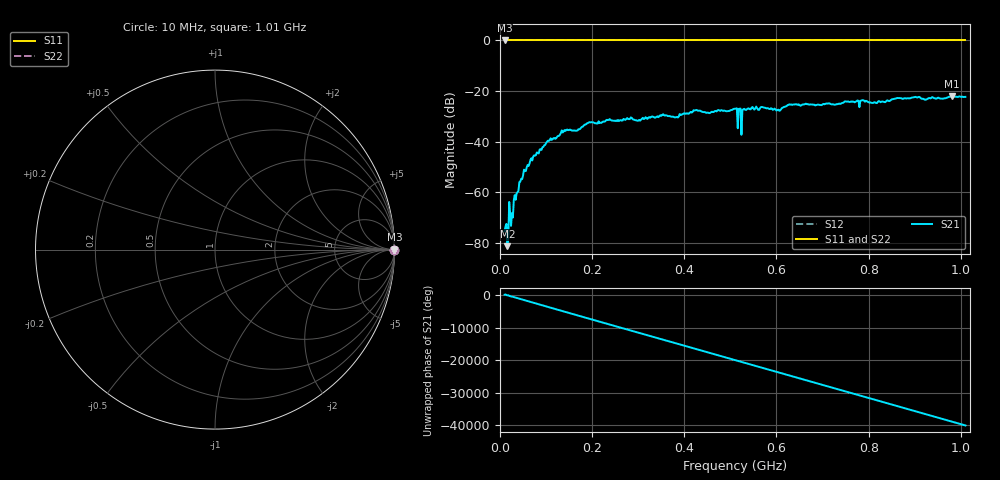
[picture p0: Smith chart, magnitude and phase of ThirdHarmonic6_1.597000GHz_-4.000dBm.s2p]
! 8/16/2025 7:01:51 PM
! C:\ANRITSUVNA\TEMP\TEMP.S2P
! CHANNEL.1
! TR.MEASUREMENT
! RAW.DATA
! RF.CORRECTION.OFF
! AVERAGING.OFF
! IF.BANDWIDTH: 5KHZ
! SWEEPTYPE:  FREQ.SWEEP(Linear)
! Reference Plane Port Info
! PORT:  PORT1  PORT2
! DISTANCE:  0  m  0  m
! TIME:  0  s  0  s
! PHASE.OFFSET:  0  deg.  0  deg.
! LOSS:  0  dB  0  dB
! REF.LOSS:  0  dB  0  dB
! REF.FREQ:  0  Hz  0  Hz
! Power Info
! POWER:  -20  dBm  -20  dBm
! EFF.POWER:  -20  dBm  -20  dBm
! SOURCE.ATTEN:  0  dB  0  dB
! TEST.ATTEN:  0  dB  0  dB
# GHZ S RI R 50.0
! FREQ.GHZ  S11RE  S11IM  S21RE  S21IM  S12RE  S12IM  S22RE  S22IM
!; PortSelection: Port_12
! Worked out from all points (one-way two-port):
!   501 points, 10 MHz to 1.01 GHz, reference 50 ohm
!   highest |S21| = -21.94 dB at 980 MHz (marker M1); lowest = -81.3 dB at 16 MHz (marker M2)
!   lowest |S11| = 0.0 dB at 10 MHz (marker M3)
!   |S11| at or under -10 dB: nowhere
!   |S22| runs from 0.0 to 0.0 dB; largest |S21 - S12| = 1.1
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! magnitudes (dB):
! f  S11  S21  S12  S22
! 10 MHz  0.0  -75.4  0.0  0.0
! 14 MHz  0.0  -72.5  0.0  0.0
! 16 MHz  0.0  -81.3  0.0  0.0
! 20 MHz  0.0  -63.8  0.0  0.0
! 34 MHz  0.0  -63.0  0.0  0.0
! 46 MHz  0.0  -54.7  0.0  0.0
! 70 MHz  0.0  -47.4  0.0  0.0
! 136 MHz  0.0  -36.4  0.0  0.0
! 178 MHz  0.0  -34.1  0.0  0.0
! 234 MHz  0.0  -31.4  0.0  0.0
! 344 MHz  0.0  -30.3  0.0  0.0
! 510 MHz  0.0  -27.0  0.0  0.0
! 518 MHz  0.0  -27.0  0.0  0.0
! 520 MHz  0.0  -27.0  0.0  0.0
! 530 MHz  0.0  -27.0  0.0  0.0
! 544 MHz  0.0  -27.2  0.0  0.0
! 604 MHz  0.0  -27.3  0.0  0.0
! 628 MHz  0.0  -25.3  0.0  0.0
! 678 MHz  0.0  -25.4  0.0  0.0
! 844 MHz  0.0  -24.0  0.0  0.0
! 980 MHz  0.0  -21.9  0.0  0.0
! 1.01 GHz  0.0  -22.3  0.0  0.0
